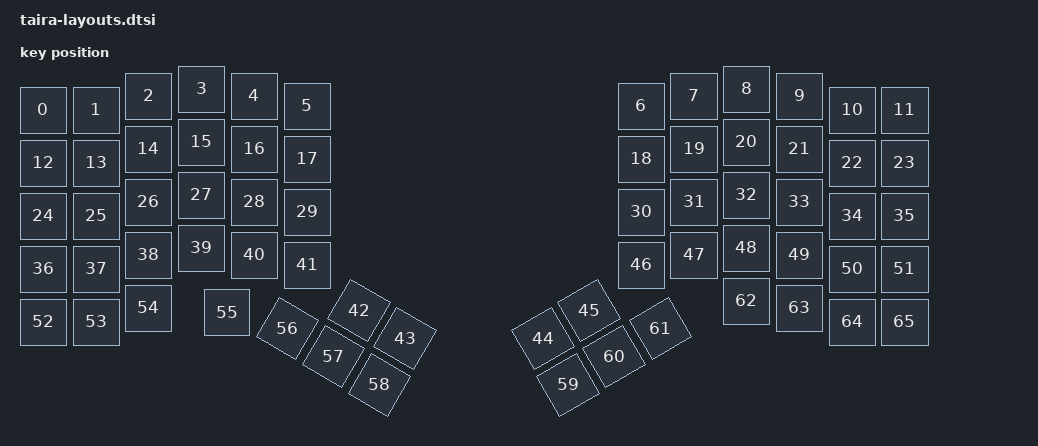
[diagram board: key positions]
#include <physical_layouts.dtsi>

/ {
    physical_layout0: physical_layout_0 {
        compatible = "zmk,physical-layout";
        display-name = "Taira";

        kscan = <&kscan0>;
        transform = <&matrix_transform0>;

        keys  //                     w   h    x    y     rot    rx    ry
            = <&key_physical_attrs 100 100    0   42       0     0     0>
            , <&key_physical_attrs 100 100  106   42       0     0     0>
            , <&key_physical_attrs 100 100  211   14       0     0     0>
            , <&key_physical_attrs 100 100  317    0       0     0     0>
            , <&key_physical_attrs 100 100  422   14       0     0     0>
            , <&key_physical_attrs 100 100  528   34       0     0     0>
            , <&key_physical_attrs 100 100 1196   34       0     0     0>
            , <&key_physical_attrs 100 100 1302   14       0     0     0>
            , <&key_physical_attrs 100 100 1407    0       0     0     0>
            , <&key_physical_attrs 100 100 1513   14       0     0     0>
            , <&key_physical_attrs 100 100 1618   42       0     0     0>
            , <&key_physical_attrs 100 100 1724   42       0     0     0>
            , <&key_physical_attrs 100 100    0  148       0     0     0>
            , <&key_physical_attrs 100 100  106  148       0     0     0>
            , <&key_physical_attrs 100 100  211  120       0     0     0>
            , <&key_physical_attrs 100 100  317  106       0     0     0>
            , <&key_physical_attrs 100 100  422  120       0     0     0>
            , <&key_physical_attrs 100 100  528  140       0     0     0>
            , <&key_physical_attrs 100 100 1196  140       0     0     0>
            , <&key_physical_attrs 100 100 1302  120       0     0     0>
            , <&key_physical_attrs 100 100 1407  106       0     0     0>
            , <&key_physical_attrs 100 100 1513  120       0     0     0>
            , <&key_physical_attrs 100 100 1618  148       0     0     0>
            , <&key_physical_attrs 100 100 1724  148       0     0     0>
            , <&key_physical_attrs 100 100    0  254       0     0     0>
            , <&key_physical_attrs 100 100  106  254       0     0     0>
            , <&key_physical_attrs 100 100  211  226       0     0     0>
            , <&key_physical_attrs 100 100  317  212       0     0     0>
            , <&key_physical_attrs 100 100  422  226       0     0     0>
            , <&key_physical_attrs 100 100  528  246       0     0     0>
            , <&key_physical_attrs 100 100 1196  246       0     0     0>
            , <&key_physical_attrs 100 100 1302  226       0     0     0>
            , <&key_physical_attrs 100 100 1407  212       0     0     0>
            , <&key_physical_attrs 100 100 1513  226       0     0     0>
            , <&key_physical_attrs 100 100 1618  254       0     0     0>
            , <&key_physical_attrs 100 100 1724  254       0     0     0>
            , <&key_physical_attrs 100 100    0  360       0     0     0>
            , <&key_physical_attrs 100 100  106  360       0     0     0>
            , <&key_physical_attrs 100 100  211  332       0     0     0>
            , <&key_physical_attrs 100 100  317  318       0     0     0>
            , <&key_physical_attrs 100 100  422  332       0     0     0>
            , <&key_physical_attrs 100 100  528  352       0     0     0>
            , <&key_physical_attrs 100 100  632  443    3000   682   493>
            , <&key_physical_attrs 100 100  724  499    3000   774   549>
            , <&key_physical_attrs 100 100 1000  499 (-3000)  1050   549>
            , <&key_physical_attrs 100 100 1092  443 (-3000)  1142   493>
            , <&key_physical_attrs 100 100 1196  352       0     0     0>
            , <&key_physical_attrs 100 100 1302  332       0     0     0>
            , <&key_physical_attrs 100 100 1407  318       0     0     0>
            , <&key_physical_attrs 100 100 1513  332       0     0     0>
            , <&key_physical_attrs 100 100 1618  360       0     0     0>
            , <&key_physical_attrs 100 100 1724  360       0     0     0>
            , <&key_physical_attrs 100 100    0  466       0     0     0>
            , <&key_physical_attrs 100 100  106  466       0     0     0>
            , <&key_physical_attrs 100 100  211  438       0     0     0>
            , <&key_physical_attrs 100 100  368  447       0     0     0>
            , <&key_physical_attrs 100 100  489  479    3000   539   529>
            , <&key_physical_attrs 100 100  581  535    3000   631   585>
            , <&key_physical_attrs 100 100  673  592    3000   723   642>
            , <&key_physical_attrs 100 100 1050  592 (-3000)  1100   642>
            , <&key_physical_attrs 100 100 1142  535 (-3000)  1192   585>
            , <&key_physical_attrs 100 100 1235  479 (-3000)  1285   529>
            , <&key_physical_attrs 100 100 1407  424       0     0     0>
            , <&key_physical_attrs 100 100 1513  438       0     0     0>
            , <&key_physical_attrs 100 100 1618  466       0     0     0>
            , <&key_physical_attrs 100 100 1724  466       0     0     0>
            ;
    };
};
